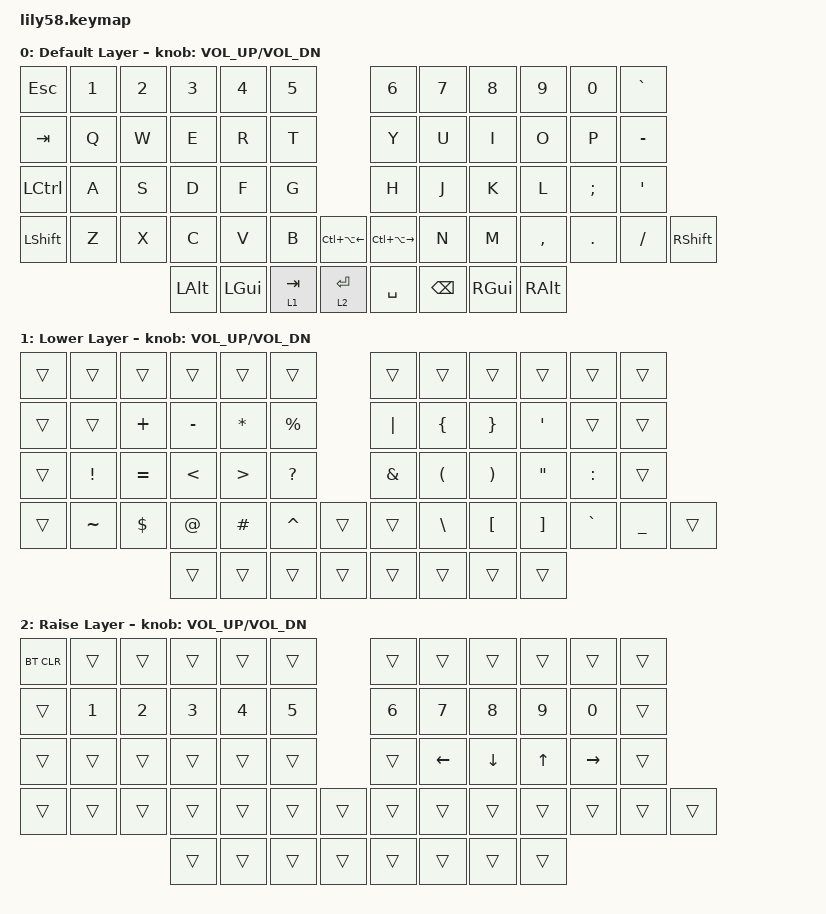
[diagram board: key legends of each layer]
/*
 * Copyright (c) 2020 The ZMK Contributors
 *
 * SPDX-License-Identifier: MIT
 */

#include <behaviors.dtsi>
#include <dt-bindings/zmk/keys.h>
#include <dt-bindings/zmk/bt.h>
#include <dt-bindings/zmk/ext_power.h>

/ {
    keymap {
        compatible = "zmk,keymap";

        default_layer {
            display-name = "Default Layer";
// ------------------------------------------------------------------------------------------------------------
// |  ESC  |  1  |  2  |  3   |  4   |  5   |                   |  6   |  7    |  8    |  9   |   0   |   `   |
// |  TAB  |  Q  |  W  |  E   |  R   |  T   |                   |  Y   |  U    |  I    |  O   |   P   |   -   |
// |  CTRL |  A  |  S  |  D   |  F   |  G   |                   |  H   |  J    |  K    |  L   |   ;   |   '   |
// | SHIFT |  Z  |  X  |  C   |  V   |  B   | WS PREV|  |WS NEXT|  N   |  M    |  ,    |  .   |   /   | SHIFT |
//                     | ALT  | GUI  |TAB/LWR|ENT/RSE|  | SPACE | BSPC | GUI   | ALT   |
            bindings = <
&kp ESC   &kp N1 &kp N2 &kp N3   &kp N4   &kp N5                      &kp N6  &kp N7  &kp N8    &kp N9  &kp N0   &kp GRAVE
&kp TAB   &kp Q  &kp W  &kp E    &kp R    &kp T                       &kp Y   &kp U   &kp I     &kp O   &kp P    &kp MINUS
&kp LCTRL &kp A  &kp S  &kp D    &kp F    &kp G                       &kp H   &kp J   &kp K     &kp L   &kp SEMI &kp SQT
&kp LSHFT &kp Z  &kp X  &kp C    &kp V    &kp B  &kp LC(LA(LEFT)) &kp LC(LA(RIGHT)) &kp N   &kp M   &kp COMMA &kp DOT &kp FSLH &kp RSHFT
                        &kp LALT &kp LGUI &lt 1 TAB &lt 2 RET  &kp SPACE &kp BSPC &kp RGUI &kp RALT
            >;

            sensor-bindings = <&inc_dec_kp C_VOL_UP C_VOL_DN>;
        };

        lower_layer {
            display-name = "Lower Layer";

// ------------------------------------------------------------------------------------------------------------
// |       |     |     |      |      |      |                   |      |       |       |      |       |       |
// |       |     |  +  |  -   |  *   |  %   |                   |  |   |   {   |   }   |  '   |       |       |
// |       |  !  |  =  |  <   |  >   |  ?   |                   |  &   |   (   |   )   |  "   |   :   |       |
// |       |  ~  |  $  |  @   |  #   |  ^   |        |  |       |  \   |   [   |   ]   |  `   |   _   |       |
//                     |      |      |      |        |  |       |      |       |       |

            bindings = <
&trans     &trans    &trans     &trans     &trans    &trans                       &trans    &trans    &trans    &trans    &trans    &trans
&trans     &trans    &kp PLUS   &kp MINUS  &kp ASTRK &kp PRCNT                    &kp PIPE  &kp LBRC  &kp RBRC  &kp SQT   &trans    &trans
&trans     &kp EXCL  &kp EQUAL  &kp LT     &kp GT    &kp QMARK                    &kp AMPS  &kp LPAR  &kp RPAR  &kp DQT   &kp COLON &trans
&trans     &kp TILDE &kp DOLLAR &kp AT     &kp HASH  &kp CARET &trans   &trans    &kp BSLH  &kp LBKT  &kp RBKT  &kp GRAVE &kp UNDER &trans
                                &trans     &trans    &trans    &trans   &trans    &trans    &trans    &trans
            >;

            sensor-bindings = <&inc_dec_kp C_VOL_UP C_VOL_DN>;
        };

        raise_layer {
            display-name = "Raise Layer";
// ------------------------------------------------------------------------------------------------------------
// |BT CLR |     |     |      |      |      |                   |      |       |       |      |       |       |
// |       |  1  |  2  |  3   |  4   |  5   |                   |  6   |   7   |   8   |  9   |   0   |       |
// |       |     |     |      |      |      |                   |      |   <-  |   v   |  ^   |  ->   |       |
// |       |     |     |      |      |      |        |  |       |      |       |       |      |       |       |
//                     |      |      |      |        |  |       |      |       |       |
            bindings = <
&bt BT_CLR &trans &trans &trans &trans &trans                      &trans      &trans    &trans    &trans   &trans    &trans
&trans    &kp N1 &kp N2 &kp N3  &kp N4  &kp N5                       &kp N6      &kp N7    &kp N8    &kp N9   &kp N0    &trans
&trans    &trans &trans &trans  &trans  &trans                       &trans      &kp LEFT  &kp DOWN  &kp UP   &kp RIGHT &trans
&trans    &trans &trans &trans  &trans  &trans    &trans   &trans    &trans      &trans    &trans    &trans   &trans    &trans
                        &trans  &trans  &trans    &trans   &trans    &trans      &trans    &trans
            >;

            sensor-bindings = <&inc_dec_kp C_VOL_UP C_VOL_DN>;
        };
    };
};
